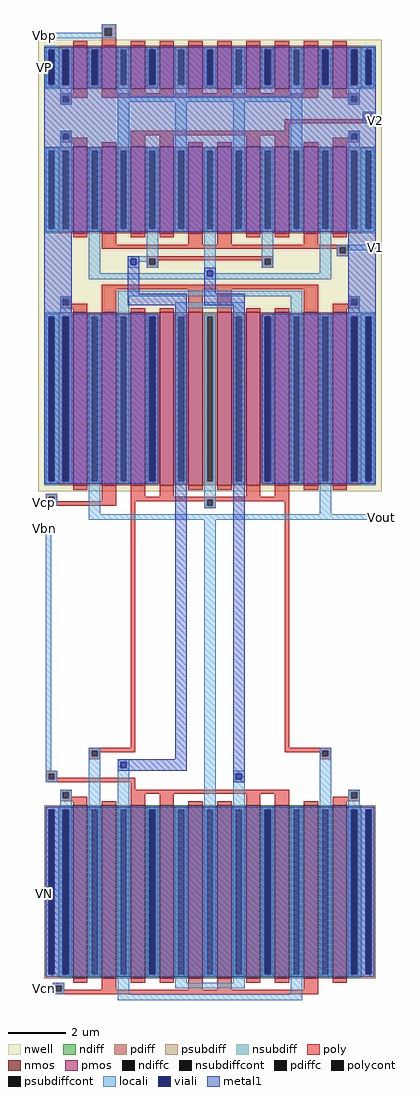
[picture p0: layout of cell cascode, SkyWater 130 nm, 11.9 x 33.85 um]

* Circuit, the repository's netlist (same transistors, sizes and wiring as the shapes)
* SPICE3 file created from cascode.ext - technology: sky130A


* Top level circuit cascode

X0 a_n960_4280# a_n1060_5220# w_n1500_2490# w_n1500_2490# sky130_fd_pr__pfet_01v8 ad=9e+12p pd=4.4e+07u as=2.025e+13p ps=9.4e+07u w=1.5e+06u l=500000u
X1 w_n1500_2490# a_n1060_5220# a_n960_4280# w_n1500_2490# sky130_fd_pr__pfet_01v8 ad=0p pd=0u as=0p ps=0u w=1.5e+06u l=500000u
X2 a_n1160_4280# w_n1500_2490# w_n1500_2490# w_n1500_2490# sky130_fd_pr__pfet_01v8 ad=4.5e+12p pd=2.1e+07u as=0p ps=0u w=3e+06u l=500000u
X3 a_n1160_2530# w_n1500_2490# w_n1500_2490# w_n1500_2490# sky130_fd_pr__pfet_01v8 ad=6e+12p pd=2.6e+07u as=0p ps=0u w=6e+06u l=500000u
X4 a_n960_4280# a_n1060_4170# a_n1160_4280# w_n1500_2490# sky130_fd_pr__pfet_01v8 ad=0p pd=0u as=0p ps=0u w=3e+06u l=500000u
X5 a_n560_2530# a_n1450_2360# a_n1160_n920# w_n1500_2490# sky130_fd_pr__pfet_01v8 ad=6e+12p pd=2.6e+07u as=3e+12p ps=1.3e+07u w=6e+06u l=500000u
X6 a_n1160_n920# a_n1400_n1030# a_n960_n920# a_n1460_n920# sky130_fd_pr__nfet_01v8 ad=6e+12p pd=2.6e+07u as=6e+12p ps=2.6e+07u w=6e+06u l=500000u
X7 w_n1500_2490# a_n1060_5220# a_n960_4280# w_n1500_2490# sky130_fd_pr__pfet_01v8 ad=0p pd=0u as=0p ps=0u w=1.5e+06u l=500000u
X8 a_n1460_n920# a_n1450_440# a_n1160_4280# a_n1460_n920# sky130_fd_pr__nfet_01v8 ad=1.2e+13p pd=5.2e+07u as=6e+12p ps=2.6e+07u w=6e+06u l=500000u
X9 w_n1500_2490# w_n1500_2490# a_n1160_2530# w_n1500_2490# sky130_fd_pr__pfet_01v8 ad=0p pd=0u as=0p ps=0u w=6e+06u l=500000u
X10 a_n1160_4280# a_n1450_440# a_n1460_n920# a_n1460_n920# sky130_fd_pr__nfet_01v8 ad=0p pd=0u as=0p ps=0u w=6e+06u l=500000u
X11 a_n960_4280# a_n1060_5220# w_n1500_2490# w_n1500_2490# sky130_fd_pr__pfet_01v8 ad=0p pd=0u as=0p ps=0u w=1.5e+06u l=500000u
X12 w_n1500_2490# a_n1060_5220# a_n960_4280# w_n1500_2490# sky130_fd_pr__pfet_01v8 ad=0p pd=0u as=0p ps=0u w=1.5e+06u l=500000u
X13 a_n960_4280# a_n1060_4170# a_n1160_4280# w_n1500_2490# sky130_fd_pr__pfet_01v8 ad=0p pd=0u as=0p ps=0u w=3e+06u l=500000u
X14 w_n1500_2490# w_n1500_2490# a_n1160_4280# w_n1500_2490# sky130_fd_pr__pfet_01v8 ad=0p pd=0u as=0p ps=0u w=3e+06u l=500000u
X15 a_n960_2530# a_n1450_2360# a_n1160_2530# w_n1500_2490# sky130_fd_pr__pfet_01v8 ad=6e+12p pd=2.6e+07u as=0p ps=0u w=6e+06u l=500000u
X16 a_n960_n920# a_n860_4250# a_n960_4280# w_n1500_2490# sky130_fd_pr__pfet_01v8 ad=3e+12p pd=1.4e+07u as=0p ps=0u w=3e+06u l=500000u
X17 w_n1500_2490# a_n1160_n920# a_n960_2530# w_n1500_2490# sky130_fd_pr__pfet_01v8 ad=0p pd=0u as=0p ps=0u w=6e+06u l=500000u
X18 a_n960_n920# a_n1450_440# a_n1460_n920# a_n1460_n920# sky130_fd_pr__nfet_01v8 ad=0p pd=0u as=0p ps=0u w=6e+06u l=500000u
X19 a_n960_4280# a_n1060_5220# w_n1500_2490# w_n1500_2490# sky130_fd_pr__pfet_01v8 ad=0p pd=0u as=0p ps=0u w=1.5e+06u l=500000u
X20 a_n1160_2530# a_n1400_n1030# a_n1160_4280# a_n1460_n920# sky130_fd_pr__nfet_01v8 ad=3e+12p pd=1.3e+07u as=0p ps=0u w=6e+06u l=500000u
X21 a_n1160_4280# a_n1060_4170# a_n960_4280# w_n1500_2490# sky130_fd_pr__pfet_01v8 ad=0p pd=0u as=0p ps=0u w=3e+06u l=500000u
X22 a_n1160_2530# a_n1450_2360# a_n960_2530# w_n1500_2490# sky130_fd_pr__pfet_01v8 ad=0p pd=0u as=0p ps=0u w=6e+06u l=500000u
X23 w_n1500_2490# a_n1060_5220# a_n960_4280# w_n1500_2490# sky130_fd_pr__pfet_01v8 ad=0p pd=0u as=0p ps=0u w=1.5e+06u l=500000u
X24 a_n960_n920# a_n860_4250# a_n960_4280# w_n1500_2490# sky130_fd_pr__pfet_01v8 ad=0p pd=0u as=0p ps=0u w=3e+06u l=500000u
X25 a_n560_2530# a_n1160_n920# w_n1500_2490# w_n1500_2490# sky130_fd_pr__pfet_01v8 ad=0p pd=0u as=0p ps=0u w=6e+06u l=500000u
X26 w_n1500_2490# a_n1160_n920# a_n560_2530# w_n1500_2490# sky130_fd_pr__pfet_01v8 ad=0p pd=0u as=0p ps=0u w=6e+06u l=500000u
X27 a_n960_4280# a_n860_4250# a_n960_n920# w_n1500_2490# sky130_fd_pr__pfet_01v8 ad=0p pd=0u as=0p ps=0u w=3e+06u l=500000u
X28 a_n1160_n920# a_n1460_n920# a_n1460_n920# a_n1460_n920# sky130_fd_pr__nfet_01v8 ad=0p pd=0u as=0p ps=0u w=6e+06u l=500000u
X29 w_n1500_2490# w_n1500_2490# w_n1500_2490# w_n1500_2490# sky130_fd_pr__pfet_01v8 ad=0p pd=0u as=0p ps=0u w=1.5e+06u l=500000u
X30 a_n1160_4280# a_n1400_n1030# a_n1160_2530# a_n1460_n920# sky130_fd_pr__nfet_01v8 ad=0p pd=0u as=0p ps=0u w=6e+06u l=500000u
X31 a_n960_4280# a_n860_4250# a_n960_n920# w_n1500_2490# sky130_fd_pr__pfet_01v8 ad=0p pd=0u as=0p ps=0u w=3e+06u l=500000u
X32 a_n960_2530# a_n1160_n920# w_n1500_2490# w_n1500_2490# sky130_fd_pr__pfet_01v8 ad=0p pd=0u as=0p ps=0u w=6e+06u l=500000u
X33 a_n960_4280# a_n1060_5220# w_n1500_2490# w_n1500_2490# sky130_fd_pr__pfet_01v8 ad=0p pd=0u as=0p ps=0u w=1.5e+06u l=500000u
X34 a_n1160_4280# a_n1060_4170# a_n960_4280# w_n1500_2490# sky130_fd_pr__pfet_01v8 ad=0p pd=0u as=0p ps=0u w=3e+06u l=500000u
X35 a_n1160_n920# a_n1450_2360# a_n560_2530# w_n1500_2490# sky130_fd_pr__pfet_01v8 ad=0p pd=0u as=0p ps=0u w=6e+06u l=500000u
X36 a_n960_n920# a_n1400_n1030# a_n1160_n920# a_n1460_n920# sky130_fd_pr__nfet_01v8 ad=0p pd=0u as=0p ps=0u w=6e+06u l=500000u
X37 a_n1460_n920# a_n1460_n920# a_n1160_n920# a_n1460_n920# sky130_fd_pr__nfet_01v8 ad=0p pd=0u as=0p ps=0u w=6e+06u l=500000u
X38 w_n1500_2490# w_n1500_2490# w_n1500_2490# w_n1500_2490# sky130_fd_pr__pfet_01v8 ad=0p pd=0u as=0p ps=0u w=1.5e+06u l=500000u
X39 a_n1460_n920# a_n1450_440# a_n960_n920# a_n1460_n920# sky130_fd_pr__nfet_01v8 ad=0p pd=0u as=0p ps=0u w=6e+06u l=500000u
.end

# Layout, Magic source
magic
tech sky130A
<< nwell >>
rect -750 1230 440 2795
<< nmos >>
rect -630 -460 -580 140
rect -530 -460 -480 140
rect -430 -460 -380 140
rect -330 -460 -280 140
rect -230 -460 -180 140
rect -130 -460 -80 140
rect -30 -460 20 140
rect 70 -460 120 140
rect 170 -460 220 140
rect 270 -460 320 140
<< pmos >>
rect -630 2625 -580 2775
rect -530 2625 -480 2775
rect -430 2625 -380 2775
rect -330 2625 -280 2775
rect -230 2625 -180 2775
rect -130 2625 -80 2775
rect -30 2625 20 2775
rect 70 2625 120 2775
rect 170 2625 220 2775
rect 270 2625 320 2775
rect -630 2125 -580 2425
rect -530 2125 -480 2425
rect -430 2125 -380 2425
rect -330 2125 -280 2425
rect -230 2125 -180 2425
rect -130 2125 -80 2425
rect -30 2125 20 2425
rect 70 2125 120 2425
rect 170 2125 220 2425
rect 270 2125 320 2425
rect -630 1250 -580 1850
rect -530 1250 -480 1850
rect -430 1250 -380 1850
rect -330 1250 -280 1850
rect -230 1250 -180 1850
rect -130 1250 -80 1850
rect -30 1250 20 1850
rect 70 1250 120 1850
rect 170 1250 220 1850
rect 270 1250 320 1850
<< ndiff >>
rect -680 125 -630 140
rect -680 -445 -665 125
rect -645 -445 -630 125
rect -680 -460 -630 -445
rect -580 125 -530 140
rect -580 -445 -565 125
rect -545 -445 -530 125
rect -580 -460 -530 -445
rect -480 125 -430 140
rect -480 -445 -465 125
rect -445 -445 -430 125
rect -480 -460 -430 -445
rect -380 125 -330 140
rect -380 -445 -365 125
rect -345 -445 -330 125
rect -380 -460 -330 -445
rect -280 125 -230 140
rect -280 -445 -265 125
rect -245 -445 -230 125
rect -280 -460 -230 -445
rect -180 125 -130 140
rect -180 -445 -165 125
rect -145 -445 -130 125
rect -180 -460 -130 -445
rect -80 125 -30 140
rect -80 -445 -65 125
rect -45 -445 -30 125
rect -80 -460 -30 -445
rect 20 125 70 140
rect 20 -445 35 125
rect 55 -445 70 125
rect 20 -460 70 -445
rect 120 125 170 140
rect 120 -445 135 125
rect 155 -445 170 125
rect 120 -460 170 -445
rect 220 125 270 140
rect 220 -445 235 125
rect 255 -445 270 125
rect 220 -460 270 -445
rect 320 125 370 140
rect 320 -445 335 125
rect 355 -445 370 125
rect 320 -460 370 -445
<< pdiff >>
rect -680 2760 -630 2775
rect -680 2640 -665 2760
rect -645 2640 -630 2760
rect -680 2625 -630 2640
rect -580 2760 -530 2775
rect -580 2640 -565 2760
rect -545 2640 -530 2760
rect -580 2625 -530 2640
rect -480 2760 -430 2775
rect -480 2640 -465 2760
rect -445 2640 -430 2760
rect -480 2625 -430 2640
rect -380 2760 -330 2775
rect -380 2640 -365 2760
rect -345 2640 -330 2760
rect -380 2625 -330 2640
rect -280 2760 -230 2775
rect -280 2640 -265 2760
rect -245 2640 -230 2760
rect -280 2625 -230 2640
rect -180 2760 -130 2775
rect -180 2640 -165 2760
rect -145 2640 -130 2760
rect -180 2625 -130 2640
rect -80 2760 -30 2775
rect -80 2640 -65 2760
rect -45 2640 -30 2760
rect -80 2625 -30 2640
rect 20 2760 70 2775
rect 20 2640 35 2760
rect 55 2640 70 2760
rect 20 2625 70 2640
rect 120 2760 170 2775
rect 120 2640 135 2760
rect 155 2640 170 2760
rect 120 2625 170 2640
rect 220 2760 270 2775
rect 220 2640 235 2760
rect 255 2640 270 2760
rect 220 2625 270 2640
rect 320 2760 370 2775
rect 320 2640 335 2760
rect 355 2640 370 2760
rect 320 2625 370 2640
rect -680 2410 -630 2425
rect -680 2140 -665 2410
rect -645 2140 -630 2410
rect -680 2125 -630 2140
rect -580 2410 -530 2425
rect -580 2140 -565 2410
rect -545 2140 -530 2410
rect -580 2125 -530 2140
rect -480 2410 -430 2425
rect -480 2140 -465 2410
rect -445 2140 -430 2410
rect -480 2125 -430 2140
rect -380 2410 -330 2425
rect -380 2140 -365 2410
rect -345 2140 -330 2410
rect -380 2125 -330 2140
rect -280 2410 -230 2425
rect -280 2140 -265 2410
rect -245 2140 -230 2410
rect -280 2125 -230 2140
rect -180 2410 -130 2425
rect -180 2140 -165 2410
rect -145 2140 -130 2410
rect -180 2125 -130 2140
rect -80 2410 -30 2425
rect -80 2140 -65 2410
rect -45 2140 -30 2410
rect -80 2125 -30 2140
rect 20 2410 70 2425
rect 20 2140 35 2410
rect 55 2140 70 2410
rect 20 2125 70 2140
rect 120 2410 170 2425
rect 120 2140 135 2410
rect 155 2140 170 2410
rect 120 2125 170 2140
rect 220 2410 270 2425
rect 220 2140 235 2410
rect 255 2140 270 2410
rect 220 2125 270 2140
rect 320 2410 370 2425
rect 320 2140 335 2410
rect 355 2140 370 2410
rect 320 2125 370 2140
rect -680 1835 -630 1850
rect -680 1265 -665 1835
rect -645 1265 -630 1835
rect -680 1250 -630 1265
rect -580 1835 -530 1850
rect -580 1265 -565 1835
rect -545 1265 -530 1835
rect -580 1250 -530 1265
rect -480 1835 -430 1850
rect -480 1265 -465 1835
rect -445 1265 -430 1835
rect -480 1250 -430 1265
rect -380 1835 -330 1850
rect -380 1265 -365 1835
rect -345 1265 -330 1835
rect -380 1250 -330 1265
rect -280 1835 -230 1850
rect -280 1265 -265 1835
rect -245 1265 -230 1835
rect -280 1250 -230 1265
rect -180 1835 -130 1850
rect -180 1265 -165 1835
rect -145 1265 -130 1835
rect -180 1250 -130 1265
rect -80 1835 -30 1850
rect -80 1265 -65 1835
rect -45 1265 -30 1835
rect -80 1250 -30 1265
rect 20 1835 70 1850
rect 20 1265 35 1835
rect 55 1265 70 1835
rect 20 1250 70 1265
rect 120 1835 170 1850
rect 120 1265 135 1835
rect 155 1265 170 1835
rect 120 1250 170 1265
rect 220 1835 270 1850
rect 220 1265 235 1835
rect 255 1265 270 1835
rect 220 1250 270 1265
rect 320 1835 370 1850
rect 320 1265 335 1835
rect 355 1265 370 1835
rect 320 1250 370 1265
<< ndiffc >>
rect -665 -445 -645 125
rect -565 -445 -545 125
rect -465 -445 -445 125
rect -365 -445 -345 125
rect -265 -445 -245 125
rect -165 -445 -145 125
rect -65 -445 -45 125
rect 35 -445 55 125
rect 135 -445 155 125
rect 235 -445 255 125
rect 335 -445 355 125
<< pdiffc >>
rect -665 2640 -645 2760
rect -565 2640 -545 2760
rect -465 2640 -445 2760
rect -365 2640 -345 2760
rect -265 2640 -245 2760
rect -165 2640 -145 2760
rect -65 2640 -45 2760
rect 35 2640 55 2760
rect 135 2640 155 2760
rect 235 2640 255 2760
rect 335 2640 355 2760
rect -665 2140 -645 2410
rect -565 2140 -545 2410
rect -465 2140 -445 2410
rect -365 2140 -345 2410
rect -265 2140 -245 2410
rect -165 2140 -145 2410
rect -65 2140 -45 2410
rect 35 2140 55 2410
rect 135 2140 155 2410
rect 235 2140 255 2410
rect 335 2140 355 2410
rect -665 1265 -645 1835
rect -565 1265 -545 1835
rect -465 1265 -445 1835
rect -365 1265 -345 1835
rect -265 1265 -245 1835
rect -165 1265 -145 1835
rect -65 1265 -45 1835
rect 35 1265 55 1835
rect 135 1265 155 1835
rect 235 1265 255 1835
rect 335 1265 355 1835
<< psubdiff >>
rect -730 125 -680 140
rect -730 -445 -715 125
rect -695 -445 -680 125
rect -730 -460 -680 -445
rect 370 125 420 140
rect 370 -445 385 125
rect 405 -445 420 125
rect 370 -460 420 -445
<< nsubdiff >>
rect -730 2760 -680 2775
rect -730 2640 -715 2760
rect -695 2640 -680 2760
rect -730 2625 -680 2640
rect 370 2760 420 2775
rect 370 2640 385 2760
rect 405 2640 420 2760
rect 370 2625 420 2640
rect -730 2410 -680 2425
rect -730 2140 -715 2410
rect -695 2140 -680 2410
rect -730 2125 -680 2140
rect 370 2410 420 2425
rect 370 2140 385 2410
rect 405 2140 420 2410
rect 370 2125 420 2140
rect -730 1835 -680 1850
rect -730 1265 -715 1835
rect -695 1265 -680 1835
rect -730 1250 -680 1265
rect 370 1835 420 1850
rect 370 1265 385 1835
rect 405 1265 420 1835
rect 370 1250 420 1265
<< psubdiffcont >>
rect -715 -445 -695 125
rect 385 -445 405 125
<< nsubdiffcont >>
rect -715 2640 -695 2760
rect 385 2640 405 2760
rect -715 2140 -695 2410
rect 385 2140 405 2410
rect -715 1265 -695 1835
rect 385 1265 405 1835
<< poly >>
rect -530 2835 -480 2850
rect -530 2810 -520 2835
rect -495 2810 -480 2835
rect -630 2775 -580 2790
rect -530 2775 -480 2810
rect -430 2775 -380 2790
rect -330 2775 -280 2790
rect -230 2775 -180 2790
rect -130 2775 -80 2790
rect -30 2775 20 2790
rect 70 2775 120 2790
rect 170 2775 220 2790
rect 270 2775 320 2790
rect -630 2610 -580 2625
rect -675 2600 -580 2610
rect -675 2580 -665 2600
rect -645 2595 -580 2600
rect -530 2610 -480 2625
rect -430 2610 -380 2625
rect -330 2610 -280 2625
rect -230 2610 -180 2625
rect -130 2610 -80 2625
rect -30 2610 20 2625
rect 70 2610 120 2625
rect 170 2610 220 2625
rect -530 2595 220 2610
rect 270 2610 320 2625
rect 270 2600 365 2610
rect 270 2595 335 2600
rect -645 2580 -635 2595
rect -675 2570 -635 2580
rect 325 2580 335 2595
rect 355 2580 365 2600
rect 325 2570 365 2580
rect 375 2535 415 2545
rect 375 2520 385 2535
rect 105 2515 385 2520
rect 405 2515 415 2535
rect 105 2505 415 2515
rect 105 2480 120 2505
rect -675 2470 -635 2480
rect -675 2450 -665 2470
rect -645 2455 -635 2470
rect -430 2465 120 2480
rect -645 2450 -580 2455
rect -675 2440 -580 2450
rect -630 2425 -580 2440
rect -530 2425 -480 2440
rect -430 2425 -380 2465
rect -330 2425 -280 2465
rect -230 2425 -180 2440
rect -130 2425 -80 2440
rect -30 2425 20 2465
rect 70 2425 120 2465
rect 325 2470 365 2480
rect 325 2455 335 2470
rect 270 2450 335 2455
rect 355 2450 365 2470
rect 270 2440 365 2450
rect 170 2425 220 2440
rect 270 2425 320 2440
rect -630 2110 -580 2125
rect -530 2085 -480 2125
rect -430 2110 -380 2125
rect -330 2110 -280 2125
rect -230 2085 -180 2125
rect -130 2085 -80 2125
rect -30 2110 20 2125
rect 70 2110 120 2125
rect 170 2085 220 2125
rect 270 2110 320 2125
rect -530 2075 325 2085
rect -530 2070 295 2075
rect 285 2055 295 2070
rect 315 2055 325 2075
rect 285 2045 325 2055
rect -375 2035 65 2045
rect -375 2015 -365 2035
rect -345 2030 35 2035
rect -345 2015 -335 2030
rect -375 2005 -335 2015
rect 25 2015 35 2030
rect 55 2015 65 2035
rect 25 2005 65 2015
rect -530 1930 220 1945
rect -675 1895 -635 1905
rect -675 1875 -665 1895
rect -645 1880 -635 1895
rect -645 1875 -580 1880
rect -675 1865 -580 1875
rect -630 1850 -580 1865
rect -530 1850 -480 1930
rect -430 1850 -380 1865
rect -330 1850 -280 1865
rect -230 1850 -180 1930
rect -130 1850 -80 1930
rect -30 1850 20 1865
rect 70 1850 120 1865
rect 170 1850 220 1930
rect 325 1895 365 1905
rect 325 1880 335 1895
rect 270 1875 335 1880
rect 355 1875 365 1895
rect 270 1865 365 1875
rect 270 1850 320 1865
rect -630 1235 -580 1250
rect -725 1210 -685 1220
rect -725 1190 -715 1210
rect -695 1195 -685 1210
rect -530 1195 -480 1250
rect -695 1190 -480 1195
rect -725 1180 -480 1190
rect -430 1210 -380 1250
rect -330 1210 -280 1250
rect -230 1235 -180 1250
rect -130 1235 -80 1250
rect -30 1210 20 1250
rect 70 1210 120 1250
rect 170 1235 220 1250
rect 270 1235 320 1250
rect -430 1200 120 1210
rect -430 1195 -165 1200
rect -430 340 -415 1195
rect -175 1180 -165 1195
rect -145 1195 120 1200
rect -145 1180 -135 1195
rect -175 1170 -135 1180
rect -575 330 -415 340
rect -575 310 -565 330
rect -545 325 -415 330
rect 105 340 120 1195
rect 105 330 265 340
rect 105 325 235 330
rect -545 310 -535 325
rect -575 300 -535 310
rect 225 310 235 325
rect 255 310 265 330
rect 225 300 265 310
rect -725 250 -685 260
rect -725 230 -715 250
rect -695 235 -685 250
rect -695 230 -415 235
rect -725 220 -415 230
rect -430 195 -415 220
rect -675 185 -635 195
rect -675 165 -665 185
rect -645 170 -635 185
rect -430 180 120 195
rect -645 165 -580 170
rect -675 155 -580 165
rect -630 140 -580 155
rect -530 140 -480 155
rect -430 140 -380 180
rect -330 140 -280 180
rect -230 140 -180 155
rect -130 140 -80 155
rect -30 140 20 180
rect 70 140 120 180
rect 325 185 365 195
rect 325 170 335 185
rect 270 165 335 170
rect 355 165 365 185
rect 270 155 365 165
rect 170 140 220 155
rect 270 140 320 155
rect -630 -475 -580 -460
rect -700 -485 -660 -475
rect -700 -505 -690 -485
rect -670 -500 -660 -485
rect -530 -500 -480 -460
rect -430 -475 -380 -460
rect -330 -475 -280 -460
rect -230 -500 -180 -460
rect -130 -500 -80 -460
rect -30 -475 20 -460
rect 70 -475 120 -460
rect 170 -500 220 -460
rect 270 -475 320 -460
rect -670 -505 220 -500
rect -700 -515 220 -505
<< polycont >>
rect -520 2810 -495 2835
rect -665 2580 -645 2600
rect 335 2580 355 2600
rect 385 2515 405 2535
rect -665 2450 -645 2470
rect 335 2450 355 2470
rect 295 2055 315 2075
rect -365 2015 -345 2035
rect 35 2015 55 2035
rect -665 1875 -645 1895
rect 335 1875 355 1895
rect -715 1190 -695 1210
rect -165 1180 -145 1200
rect -565 310 -545 330
rect 235 310 255 330
rect -715 230 -695 250
rect -665 165 -645 185
rect 335 165 355 185
rect -690 -505 -670 -485
<< locali >>
rect -530 2835 -480 2850
rect -530 2820 -520 2835
rect -730 2810 -520 2820
rect -495 2810 -480 2835
rect -730 2800 -480 2810
rect -725 2760 -635 2770
rect -725 2640 -715 2760
rect -695 2640 -665 2760
rect -645 2640 -635 2760
rect -725 2630 -635 2640
rect -575 2760 -535 2770
rect -575 2640 -565 2760
rect -545 2640 -535 2760
rect -575 2630 -535 2640
rect -475 2760 -435 2770
rect -475 2640 -465 2760
rect -445 2640 -435 2760
rect -675 2600 -635 2630
rect -675 2580 -665 2600
rect -645 2580 -635 2600
rect -675 2570 -635 2580
rect -475 2600 -435 2640
rect -375 2760 -335 2770
rect -375 2640 -365 2760
rect -345 2640 -335 2760
rect -375 2630 -335 2640
rect -275 2760 -235 2770
rect -275 2640 -265 2760
rect -245 2640 -235 2760
rect -275 2600 -235 2640
rect -175 2760 -135 2770
rect -175 2640 -165 2760
rect -145 2640 -135 2760
rect -175 2630 -135 2640
rect -75 2760 -35 2770
rect -75 2640 -65 2760
rect -45 2640 -35 2760
rect -75 2600 -35 2640
rect 25 2760 65 2770
rect 25 2640 35 2760
rect 55 2640 65 2760
rect 25 2630 65 2640
rect 125 2760 165 2770
rect 125 2640 135 2760
rect 155 2640 165 2760
rect 125 2600 165 2640
rect 225 2760 265 2770
rect 225 2640 235 2760
rect 255 2640 265 2760
rect 225 2630 265 2640
rect 325 2760 415 2770
rect 325 2640 335 2760
rect 355 2640 385 2760
rect 405 2640 415 2760
rect 325 2630 415 2640
rect -475 2580 165 2600
rect -675 2470 -635 2480
rect -675 2450 -665 2470
rect -645 2450 -635 2470
rect -675 2420 -635 2450
rect -725 2410 -635 2420
rect -725 2140 -715 2410
rect -695 2140 -665 2410
rect -645 2140 -635 2410
rect -725 2130 -635 2140
rect -575 2410 -535 2420
rect -575 2140 -565 2410
rect -545 2140 -535 2410
rect -575 1985 -535 2140
rect -475 2410 -435 2580
rect -475 2140 -465 2410
rect -445 2140 -435 2410
rect -475 2130 -435 2140
rect -375 2410 -335 2420
rect -375 2140 -365 2410
rect -345 2140 -335 2410
rect -375 2045 -335 2140
rect -275 2410 -235 2580
rect -275 2140 -265 2410
rect -245 2140 -235 2410
rect -275 2130 -235 2140
rect -175 2410 -135 2420
rect -175 2140 -165 2410
rect -145 2140 -135 2410
rect -440 2035 -335 2045
rect -440 2015 -430 2035
rect -410 2025 -365 2035
rect -410 2015 -400 2025
rect -440 2005 -400 2015
rect -375 2015 -365 2025
rect -345 2015 -335 2035
rect -375 2005 -335 2015
rect -175 1995 -135 2140
rect -75 2410 -35 2580
rect -75 2140 -65 2410
rect -45 2140 -35 2410
rect -75 2130 -35 2140
rect 25 2410 65 2420
rect 25 2140 35 2410
rect 55 2140 65 2410
rect 25 2035 65 2140
rect 125 2410 165 2580
rect 325 2600 365 2630
rect 325 2580 335 2600
rect 355 2580 365 2600
rect 325 2570 365 2580
rect 375 2535 415 2545
rect 375 2515 385 2535
rect 405 2525 415 2535
rect 405 2515 420 2525
rect 375 2505 420 2515
rect 325 2470 365 2480
rect 325 2450 335 2470
rect 355 2450 365 2470
rect 325 2420 365 2450
rect 125 2140 135 2410
rect 155 2140 165 2410
rect 125 2130 165 2140
rect 225 2410 265 2420
rect 225 2140 235 2410
rect 255 2140 265 2410
rect 25 2015 35 2035
rect 55 2015 65 2035
rect 25 2005 65 2015
rect -175 1985 -165 1995
rect -575 1975 -165 1985
rect -145 1985 -135 1995
rect 225 1985 265 2140
rect 325 2410 415 2420
rect 325 2140 335 2410
rect 355 2140 385 2410
rect 405 2140 415 2410
rect 325 2130 415 2140
rect 285 2075 420 2085
rect 285 2055 295 2075
rect 315 2065 420 2075
rect 315 2055 325 2065
rect 285 2045 325 2055
rect -145 1975 265 1985
rect -575 1965 265 1975
rect -475 1905 165 1925
rect -675 1895 -635 1905
rect -675 1875 -665 1895
rect -645 1875 -635 1895
rect -675 1845 -635 1875
rect -725 1835 -635 1845
rect -725 1265 -715 1835
rect -695 1265 -665 1835
rect -645 1265 -635 1835
rect -725 1255 -635 1265
rect -575 1835 -535 1845
rect -575 1265 -565 1835
rect -545 1265 -535 1835
rect -725 1210 -685 1220
rect -725 1200 -715 1210
rect -730 1190 -715 1200
rect -695 1190 -685 1210
rect -730 1180 -685 1190
rect -575 1150 -535 1265
rect -475 1835 -435 1905
rect -275 1865 -35 1885
rect -475 1265 -465 1835
rect -445 1265 -435 1835
rect -475 1255 -435 1265
rect -375 1835 -335 1845
rect -375 1265 -365 1835
rect -345 1265 -335 1835
rect -375 1255 -335 1265
rect -275 1835 -235 1865
rect -275 1265 -265 1835
rect -245 1265 -235 1835
rect -275 1255 -235 1265
rect -175 1835 -135 1845
rect -175 1265 -165 1835
rect -145 1265 -135 1835
rect -175 1200 -135 1265
rect -75 1835 -35 1865
rect -75 1265 -65 1835
rect -45 1265 -35 1835
rect -75 1255 -35 1265
rect 25 1835 65 1845
rect 25 1265 35 1835
rect 55 1265 65 1835
rect 25 1255 65 1265
rect 125 1835 165 1905
rect 325 1895 365 1905
rect 325 1875 335 1895
rect 355 1875 365 1895
rect 325 1850 365 1875
rect 325 1845 370 1850
rect 125 1265 135 1835
rect 155 1265 165 1835
rect 125 1255 165 1265
rect 225 1835 265 1845
rect 225 1265 235 1835
rect 255 1265 265 1835
rect -175 1180 -165 1200
rect -145 1180 -135 1200
rect -175 1170 -135 1180
rect 225 1150 265 1265
rect 325 1835 415 1845
rect 325 1265 335 1835
rect 355 1265 385 1835
rect 405 1265 415 1835
rect 325 1255 415 1265
rect -575 1130 440 1150
rect -730 1090 -705 1110
rect -725 260 -705 1090
rect -575 330 -535 340
rect -575 310 -565 330
rect -545 310 -535 330
rect -725 250 -685 260
rect -725 230 -715 250
rect -695 230 -685 250
rect -725 220 -685 230
rect -675 185 -635 195
rect -675 165 -665 185
rect -645 165 -635 185
rect -675 140 -635 165
rect -680 135 -635 140
rect -725 125 -635 135
rect -725 -445 -715 125
rect -695 -445 -665 125
rect -645 -445 -635 125
rect -725 -455 -635 -445
rect -575 125 -535 310
rect -575 -445 -565 125
rect -545 -445 -535 125
rect -575 -455 -535 -445
rect -475 290 -435 300
rect -475 270 -465 290
rect -445 270 -435 290
rect -475 125 -435 270
rect -475 -445 -465 125
rect -445 -445 -435 125
rect -700 -485 -660 -475
rect -730 -505 -690 -485
rect -670 -505 -660 -485
rect -700 -515 -660 -505
rect -475 -515 -435 -445
rect -375 125 -335 135
rect -375 -445 -365 125
rect -345 -445 -335 125
rect -375 -455 -335 -445
rect -275 125 -235 135
rect -275 -445 -265 125
rect -245 -445 -235 125
rect -275 -475 -235 -445
rect -175 125 -135 1130
rect 225 330 265 340
rect 225 310 235 330
rect 255 310 265 330
rect -175 -445 -165 125
rect -145 -445 -135 125
rect -175 -455 -135 -445
rect -75 250 -35 260
rect -75 230 -65 250
rect -45 230 -35 250
rect -75 125 -35 230
rect -75 -445 -65 125
rect -45 -445 -35 125
rect -75 -475 -35 -445
rect 25 125 65 135
rect 25 -445 35 125
rect 55 -445 65 125
rect 25 -455 65 -445
rect 125 125 165 135
rect 125 -445 135 125
rect 155 -445 165 125
rect -275 -495 -35 -475
rect 125 -515 165 -445
rect 225 125 265 310
rect 225 -445 235 125
rect 255 -445 265 125
rect 225 -455 265 -445
rect 325 185 365 195
rect 325 165 335 185
rect 355 165 365 185
rect 325 135 365 165
rect 325 125 415 135
rect 325 -445 335 125
rect 355 -445 385 125
rect 405 -445 415 125
rect 325 -455 415 -445
rect -475 -535 165 -515
<< viali >>
rect -715 2640 -695 2760
rect -665 2640 -645 2760
rect -565 2640 -545 2760
rect -365 2640 -345 2760
rect -165 2640 -145 2760
rect 35 2640 55 2760
rect 235 2640 255 2760
rect 335 2640 355 2760
rect 385 2640 405 2760
rect -430 2015 -410 2035
rect -165 1975 -145 1995
rect -715 1265 -695 1835
rect -665 1265 -645 1835
rect -365 1265 -345 1835
rect 35 1265 55 1835
rect 335 1265 355 1835
rect 385 1265 405 1835
rect -715 -445 -695 125
rect -665 -445 -645 125
rect -465 270 -445 290
rect -365 -445 -345 125
rect -65 230 -45 250
rect 35 -445 55 125
rect 335 -445 355 125
rect 385 -445 405 125
<< metal1 >>
rect -730 2760 420 2770
rect -730 2640 -715 2760
rect -695 2640 -665 2760
rect -645 2640 -565 2760
rect -545 2640 -365 2760
rect -345 2640 -165 2760
rect -145 2640 35 2760
rect 55 2640 235 2760
rect 255 2640 335 2760
rect 355 2640 385 2760
rect 405 2640 420 2760
rect -730 2130 420 2640
rect -730 1845 -635 2130
rect -440 2035 -400 2045
rect -440 2015 -430 2035
rect -410 2015 -400 2035
rect -440 1915 -400 2015
rect -175 1995 -135 2005
rect -175 1975 -165 1995
rect -145 1975 -135 1995
rect -175 1915 -135 1975
rect -440 1875 -235 1915
rect -175 1875 -35 1915
rect -730 1835 -335 1845
rect -730 1265 -715 1835
rect -695 1265 -665 1835
rect -645 1265 -365 1835
rect -345 1265 -335 1835
rect -730 1255 -335 1265
rect -275 300 -235 1875
rect -475 290 -235 300
rect -475 270 -465 290
rect -445 270 -235 290
rect -475 260 -235 270
rect -75 250 -35 1875
rect 325 1845 420 2130
rect 25 1835 420 1845
rect 25 1265 35 1835
rect 55 1265 335 1835
rect 355 1265 385 1835
rect 405 1265 420 1835
rect 25 1255 420 1265
rect -75 230 -65 250
rect -45 230 -35 250
rect -75 220 -35 230
rect -725 125 415 135
rect -725 -445 -715 125
rect -695 -445 -665 125
rect -645 -445 -365 125
rect -345 -445 35 125
rect 55 -445 335 125
rect 355 -445 385 125
rect 405 -445 415 125
rect -725 -455 415 -445
<< labels >>
rlabel locali -730 2810 -730 2810 7 Vbp
port 1 w
rlabel metal1 -730 2700 -730 2700 7 VP
port 2 w
rlabel locali -730 1190 -730 1190 7 Vcp
port 3 w
rlabel locali -730 1100 -730 1100 7 Vbn
port 4 w
rlabel psubdiff -730 -165 -730 -165 7 VN
port 5 w
rlabel locali -730 -495 -730 -495 7 Vcn
port 6 w
rlabel locali 440 1140 440 1140 3 Vout
port 7 e
rlabel metal1 420 2075 420 2075 3 V1
port 8 e
rlabel metal1 420 2515 420 2515 3 V2
port 9 e
<< end >>
